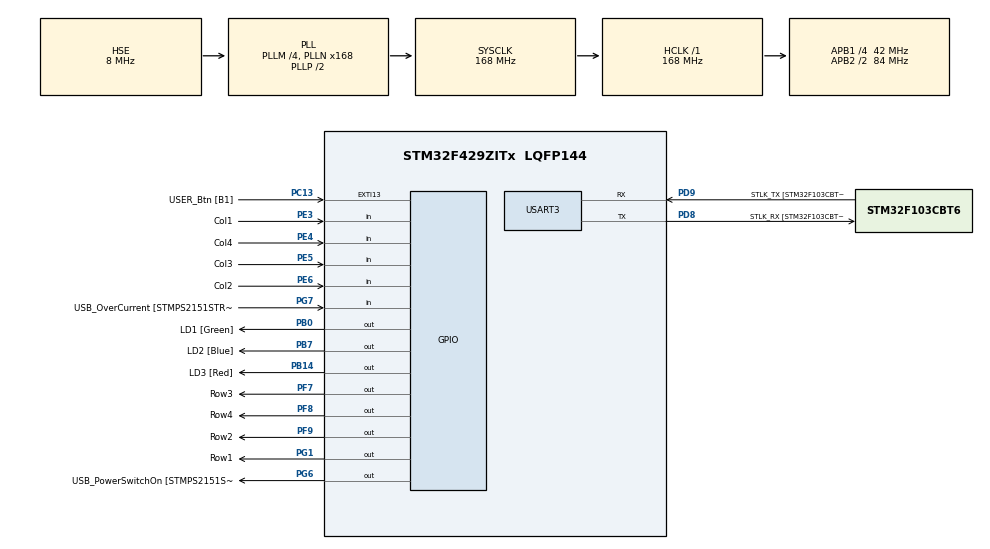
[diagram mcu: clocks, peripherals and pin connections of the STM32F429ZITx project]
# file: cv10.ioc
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Mcu.Family=STM32F4
Mcu.Name=STM32F429ZITx
Mcu.Package=LQFP144
NVIC.PriorityGroup=NVIC_PRIORITYGROUP_4
NVIC.TIM3_IRQn=true\:0\:0\:false\:false\:true\:true\:true\:true
PA1.GPIO_Label=RMII_REF_CLK [LAN8742A-CZ-TR_REFCLK0]
PA1.Signal=ETH_REF_CLK
PA10.GPIO_Label=USB_ID
PA10.Signal=USB_OTG_FS_ID
PA11.GPIO_Label=USB_DM
PA11.Signal=USB_OTG_FS_DM
PA12.GPIO_Label=USB_DP
PA12.Signal=USB_OTG_FS_DP
PA13.GPIO_Label=TMS
PA13.Mode=Serial_Wire
PA13.Signal=SYS_JTMS-SWDIO
PA14.GPIO_Label=TCK
PA14.Mode=Serial_Wire
PA14.Signal=SYS_JTCK-SWCLK
PA2.GPIO_Label=RMII_MDIO [LAN8742A-CZ-TR_MDIO]
PA2.Signal=ETH_MDIO
PA7.GPIO_Label=RMII_CRS_DV [LAN8742A-CZ-TR_CRS_DV]
PA7.Signal=ETH_CRS_DV
PA8.GPIO_Label=USB_SOF [TP1]
PA8.Signal=USB_OTG_FS_SOF
PA9.GPIO_Label=USB_VBUS
PA9.Signal=USB_OTG_FS_VBUS
PB0.GPIO_Label=LD1 [Green]
PB0.Signal=GPIO_Output
PB13.GPIO_Label=RMII_TXD1 [LAN8742A-CZ-TR_TXD1]
PB13.Signal=ETH_TXD1
PB14.GPIO_Label=LD3 [Red]
PB14.Signal=GPIO_Output
PB7.GPIO_Label=LD2 [Blue]
PB7.Signal=GPIO_Output
PC1.GPIO_Label=RMII_MDC [LAN8742A-CZ-TR_MDC]
PC1.Signal=ETH_MDC
PC13.GPIO_Label=USER_Btn [B1]
PC13.Signal=GPXTI13
PC14/OSC32_IN.Mode=LSE-External-Oscillator
PC14/OSC32_IN.Signal=RCC_OSC32_IN
PC15/OSC32_OUT.Mode=LSE-External-Oscillator
PC15/OSC32_OUT.Signal=RCC_OSC32_OUT
PC4.GPIO_Label=RMII_RXD0 [LAN8742A-CZ-TR_RXD0]
PC4.Signal=ETH_RXD0
PC5.GPIO_Label=RMII_RXD1 [LAN8742A-CZ-TR_RXD1]
PC5.Signal=ETH_RXD1
PD8.GPIO_Label=STLK_RX [STM32F103CBT6_PA3]
PD8.Mode=Asynchronous
PD8.Signal=USART3_TX
PD9.GPIO_Label=STLK_TX [STM32F103CBT6_PA2]
PD9.Mode=Asynchronous
PD9.Signal=USART3_RX
PE3.GPIO_Label=Col1
PE3.GPIO_PuPd=GPIO_PULLUP
PE3.Signal=GPIO_Input
PE4.GPIO_Label=Col4
PE4.GPIO_PuPd=GPIO_PULLUP
PE4.Signal=GPIO_Input
PE5.GPIO_Label=Col3
PE5.GPIO_PuPd=GPIO_PULLUP
PE5.Signal=GPIO_Input
PE6.GPIO_Label=Col2
PE6.GPIO_PuPd=GPIO_PULLUP
PE6.Signal=GPIO_Input
PF7.GPIO_Label=Row3
PF7.GPIO_ModeDefaultOutputPP=GPIO_MODE_OUTPUT_OD
PF7.GPIO_PuPd=GPIO_NOPULL
PF7.Signal=GPIO_Output
PF8.GPIO_Label=Row4
PF8.GPIO_ModeDefaultOutputPP=GPIO_MODE_OUTPUT_OD
PF8.GPIO_PuPd=GPIO_NOPULL
PF8.Signal=GPIO_Output
PF9.GPIO_Label=Row2
PF9.GPIO_ModeDefaultOutputPP=GPIO_MODE_OUTPUT_OD
PF9.GPIO_PuPd=GPIO_NOPULL
PF9.Signal=GPIO_Output
PG1.GPIO_Label=Row1
PG1.GPIO_ModeDefaultOutputPP=GPIO_MODE_OUTPUT_OD
PG1.GPIO_PuPd=GPIO_NOPULL
PG1.Signal=GPIO_Output
PG11.GPIO_Label=RMII_TX_EN [LAN8742A-CZ-TR_TXEN]
PG11.Signal=ETH_TX_EN
PG13.GPIO_Label=RMII_TXD0 [LAN8742A-CZ-TR_TXD0]
PG13.Signal=ETH_TXD0
PG6.GPIO_Label=USB_PowerSwitchOn [STMPS2151STR_EN]
PG6.Signal=GPIO_Output
PG7.GPIO_Label=USB_OverCurrent [STMPS2151STR_FAULT]
PG7.Signal=GPIO_Input
PH0/OSC_IN.GPIO_Label=MCO [STM32F103CBT6_PA8]
PH0/OSC_IN.Mode=HSE-External-Clock-Source
PH0/OSC_IN.Signal=RCC_OSC_IN
PH1/OSC_OUT.Mode=HSE-External-Clock-Source
PH1/OSC_OUT.Signal=RCC_OSC_OUT
ProjectManager.HeapSize=0x200
ProjectManager.StackSize=0x400
ProjectManager.TargetToolchain=STM32CubeIDE
RCC.48MHZClocksFreq_Value=48000000
RCC.AHBFreq_Value=168000000
RCC.APB1CLKDivider=RCC_HCLK_DIV4
RCC.APB1Freq_Value=42000000
RCC.APB1TimFreq_Value=84000000
RCC.APB2CLKDivider=RCC_HCLK_DIV2
RCC.APB2Freq_Value=84000000
RCC.APB2TimCLKDivider=2
RCC.APB2TimFreq_Value=168000000
RCC.CortexFreq_Value=168000000
RCC.HCLKFreq_Value=168000000
RCC.HSE_VALUE=8000000
RCC.HSI_VALUE=16000000
RCC.PLLM=4
RCC.PLLMUL=RCC_PLL_MUL9
RCC.PLLN=168
RCC.PLLQ=7
RCC.PLLSourceVirtual=RCC_PLLSOURCE_HSE
RCC.PRESCALERUSB=RCC_USBCLKSOURCE_PLL_DIV1_5
RCC.SYSCLKFreq_VALUE=168000000
RCC.SYSCLKSource=RCC_SYSCLKSOURCE_PLLCLK
RCC.SYSCLKSourceVirtual=RCC_SYSCLKSOURCE_PLLCLK
RCC.USBFreq_Value=48000000
RCC.VCOOutputFreq_Value=336000000
TIM3.AutoReloadPreload=TIM_AUTORELOAD_PRELOAD_ENABLE
TIM3.Period=99
TIM3.Prescaler=8399
USART3.VirtualMode=VM_ASYNC
VP_TIM3_VS_ClockSourceINT.Mode=Internal
board=NUCLEO-F429ZI

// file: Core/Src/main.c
/* USER CODE BEGIN Header */
/**
 ******************************************************************************
 * @file           : main.c
 * @brief          : Main program body
 ******************************************************************************
 * @attention
 *
 * Copyright (c) 2022 STMicroelectronics.
 * All rights reserved.
 *
 * This software is licensed under terms that can be found in the LICENSE file
 * in the root directory of this software component.
 * If no LICENSE file comes with this software, it is provided AS-IS.
 *
 ******************************************************************************
 */
/* USER CODE END Header */
#include "main.h"

/* USER CODE BEGIN Includes */
#include <stdio.h>
/* USER CODE END Includes */

TIM_HandleTypeDef htim3;

UART_HandleTypeDef huart3;

/* USER CODE BEGIN PV */
static volatile int8_t key = -1;
/* USER CODE END PV */

void SystemClock_Config(void);
static void MX_GPIO_Init(void);
static void MX_USART3_UART_Init(void);
static void MX_TIM3_Init(void);

/* USER CODE BEGIN 0 */
int __io_putchar(int ch) {
	ITM_SendChar(ch);
	return 0;
}

void HAL_TIM_PeriodElapsedCallback(TIM_HandleTypeDef *htim) {
	static int row = 0;
	static const int keyboard[4][4] = { { 1, 2, 3, 21 }, { 4, 5, 6, 22 }, { 7,
			8, 9, 23 }, { 11, 0, 12, 24 }, };

	if (key == -1) {
		if (HAL_GPIO_ReadPin(Col1_GPIO_Port, Col1_Pin) == GPIO_PIN_RESET)
			key = keyboard[row][0];
		if (HAL_GPIO_ReadPin(Col2_GPIO_Port, Col2_Pin) == GPIO_PIN_RESET)
			key = keyboard[row][1];
		if (HAL_GPIO_ReadPin(Col3_GPIO_Port, Col3_Pin) == GPIO_PIN_RESET)
			key = keyboard[row][2];
		if (HAL_GPIO_ReadPin(Col4_GPIO_Port, Col4_Pin) == GPIO_PIN_RESET)
			key = keyboard[row][3];
	}
	HAL_GPIO_WritePin(Row1_GPIO_Port, Row1_Pin, GPIO_PIN_SET);
	HAL_GPIO_WritePin(Row2_GPIO_Port, Row2_Pin, GPIO_PIN_SET);
	HAL_GPIO_WritePin(Row3_GPIO_Port, Row3_Pin, GPIO_PIN_SET);
	HAL_GPIO_WritePin(Row4_GPIO_Port, Row4_Pin, GPIO_PIN_SET);

	switch (row) {
	case 0:
		row = 1;
		HAL_GPIO_WritePin(Row2_GPIO_Port, Row2_Pin, GPIO_PIN_RESET);
		break;
	case 1:
		row = 2;
		HAL_GPIO_WritePin(Row3_GPIO_Port, Row3_Pin, GPIO_PIN_RESET);
		break;
	case 2:
		row = 3;
		HAL_GPIO_WritePin(Row4_GPIO_Port, Row4_Pin, GPIO_PIN_RESET);
		break;
	case 3:
		row = 0;
		HAL_GPIO_WritePin(Row1_GPIO_Port, Row1_Pin, GPIO_PIN_RESET);
		break;
	}
}
/* USER CODE END 0 */

int main(void)
{

  /* MCU Configuration--------------------------------------------------------*/

  /* Reset of all peripherals, Initializes the Flash interface and the Systick. */
  HAL_Init();

  /* Configure the system clock */
  SystemClock_Config();

  /* Initialize all configured peripherals */
  MX_GPIO_Init();
  MX_USART3_UART_Init();
  MX_TIM3_Init();
  /* USER CODE BEGIN 2 */

	HAL_TIM_Base_Start_IT(&htim3);

	static const int8_t code[] = {7, 9, 3, 2, 12};
	uint8_t pos = 0;

  /* USER CODE END 2 */

  /* Infinite loop */
  /* USER CODE BEGIN WHILE */
	while (1) {

		static uint32_t timeoutTicks = UINT32_MAX;

		if (HAL_GetTick() >= timeoutTicks) {
			pos = 0;
			timeoutTicks = UINT32_MAX;
			printf("Timeout!\n");
		}

		if (key != -1) {
			printf("Pressed: %2d, ", key);

			if (code[pos] == key) {
				pos++;
				timeoutTicks = HAL_GetTick()+3000;
				printf("pos = %d\n", pos);

				if (pos >= 5) {
					HAL_GPIO_TogglePin(LD1_GPIO_Port, LD1_Pin);
					pos = 0;
					timeoutTicks = UINT32_MAX;
					printf("ACCESS GRANTED!\n");
				}

			} else {
				pos = 0;
				timeoutTicks = HAL_GetTick()+3000;
				printf("pos = %d\n", pos);

			}

			HAL_Delay(300);
			key = -1;
		}

    /* USER CODE END WHILE */

	}
}

void SystemClock_Config(void)
{
  RCC_OscInitTypeDef RCC_OscInitStruct = {0};
  RCC_ClkInitTypeDef RCC_ClkInitStruct = {0};

  /** Configure the main internal regulator output voltage
  */
  __HAL_RCC_PWR_CLK_ENABLE();
  __HAL_PWR_VOLTAGESCALING_CONFIG(PWR_REGULATOR_VOLTAGE_SCALE1);

  /** Initializes the RCC Oscillators according to the specified parameters
  * in the RCC_OscInitTypeDef structure.
  */
  RCC_OscInitStruct.OscillatorType = RCC_OSCILLATORTYPE_HSE;
  RCC_OscInitStruct.HSEState = RCC_HSE_BYPASS;
  RCC_OscInitStruct.PLL.PLLState = RCC_PLL_ON;
  RCC_OscInitStruct.PLL.PLLSource = RCC_PLLSOURCE_HSE;
  RCC_OscInitStruct.PLL.PLLM = 4;
  RCC_OscInitStruct.PLL.PLLN = 168;
  RCC_OscInitStruct.PLL.PLLP = RCC_PLLP_DIV2;
  RCC_OscInitStruct.PLL.PLLQ = 7;
  if (HAL_RCC_OscConfig(&RCC_OscInitStruct) != HAL_OK)
  {
    Error_Handler();
  }

  /** Initializes the CPU, AHB and APB buses clocks
  */
  RCC_ClkInitStruct.ClockType = RCC_CLOCKTYPE_HCLK|RCC_CLOCKTYPE_SYSCLK
                              |RCC_CLOCKTYPE_PCLK1|RCC_CLOCKTYPE_PCLK2;
  RCC_ClkInitStruct.SYSCLKSource = RCC_SYSCLKSOURCE_PLLCLK;
  RCC_ClkInitStruct.AHBCLKDivider = RCC_SYSCLK_DIV1;
  RCC_ClkInitStruct.APB1CLKDivider = RCC_HCLK_DIV4;
  RCC_ClkInitStruct.APB2CLKDivider = RCC_HCLK_DIV2;

  if (HAL_RCC_ClockConfig(&RCC_ClkInitStruct, FLASH_LATENCY_5) != HAL_OK)
  {
    Error_Handler();
  }
}

static void MX_TIM3_Init(void)
{

  TIM_ClockConfigTypeDef sClockSourceConfig = {0};
  TIM_MasterConfigTypeDef sMasterConfig = {0};

  htim3.Instance = TIM3;
  htim3.Init.Prescaler = 8399;
  htim3.Init.CounterMode = TIM_COUNTERMODE_UP;
  htim3.Init.Period = 99;
  htim3.Init.ClockDivision = TIM_CLOCKDIVISION_DIV1;
  htim3.Init.AutoReloadPreload = TIM_AUTORELOAD_PRELOAD_ENABLE;
  if (HAL_TIM_Base_Init(&htim3) != HAL_OK)
  {
    Error_Handler();
  }
  sClockSourceConfig.ClockSource = TIM_CLOCKSOURCE_INTERNAL;
  if (HAL_TIM_ConfigClockSource(&htim3, &sClockSourceConfig) != HAL_OK)
  {
    Error_Handler();
  }
  sMasterConfig.MasterOutputTrigger = TIM_TRGO_RESET;
  sMasterConfig.MasterSlaveMode = TIM_MASTERSLAVEMODE_DISABLE;
  if (HAL_TIMEx_MasterConfigSynchronization(&htim3, &sMasterConfig) != HAL_OK)
  {
    Error_Handler();
  }

}

static void MX_USART3_UART_Init(void)
{

  huart3.Instance = USART3;
  huart3.Init.BaudRate = 115200;
  huart3.Init.WordLength = UART_WORDLENGTH_8B;
  huart3.Init.StopBits = UART_STOPBITS_1;
  huart3.Init.Parity = UART_PARITY_NONE;
  huart3.Init.Mode = UART_MODE_TX_RX;
  huart3.Init.HwFlowCtl = UART_HWCONTROL_NONE;
  huart3.Init.OverSampling = UART_OVERSAMPLING_16;
  if (HAL_UART_Init(&huart3) != HAL_OK)
  {
    Error_Handler();
  }

}

static void MX_GPIO_Init(void)
{
  GPIO_InitTypeDef GPIO_InitStruct = {0};

  /* GPIO Ports Clock Enable */
  __HAL_RCC_GPIOE_CLK_ENABLE();
  __HAL_RCC_GPIOC_CLK_ENABLE();
  __HAL_RCC_GPIOF_CLK_ENABLE();
  __HAL_RCC_GPIOH_CLK_ENABLE();
  __HAL_RCC_GPIOA_CLK_ENABLE();
  __HAL_RCC_GPIOB_CLK_ENABLE();
  __HAL_RCC_GPIOG_CLK_ENABLE();
  __HAL_RCC_GPIOD_CLK_ENABLE();

  /*Configure GPIO pin Output Level */
  HAL_GPIO_WritePin(GPIOF, Row3_Pin|Row4_Pin|Row2_Pin, GPIO_PIN_RESET);

  /*Configure GPIO pin Output Level */
  HAL_GPIO_WritePin(GPIOB, LD1_Pin|LD3_Pin|LD2_Pin, GPIO_PIN_RESET);

  /*Configure GPIO pin Output Level */
  HAL_GPIO_WritePin(GPIOG, Row1_Pin|USB_PowerSwitchOn_Pin, GPIO_PIN_RESET);

  /*Configure GPIO pins : Col1_Pin Col4_Pin Col3_Pin Col2_Pin */
  GPIO_InitStruct.Pin = Col1_Pin|Col4_Pin|Col3_Pin|Col2_Pin;
  GPIO_InitStruct.Mode = GPIO_MODE_INPUT;
  GPIO_InitStruct.Pull = GPIO_PULLUP;
  HAL_GPIO_Init(GPIOE, &GPIO_InitStruct);

  /*Configure GPIO pin : USER_Btn_Pin */
  GPIO_InitStruct.Pin = USER_Btn_Pin;
  GPIO_InitStruct.Mode = GPIO_MODE_IT_RISING;
  GPIO_InitStruct.Pull = GPIO_NOPULL;
  HAL_GPIO_Init(USER_Btn_GPIO_Port, &GPIO_InitStruct);

  /*Configure GPIO pins : Row3_Pin Row4_Pin Row2_Pin */
  GPIO_InitStruct.Pin = Row3_Pin|Row4_Pin|Row2_Pin;
  GPIO_InitStruct.Mode = GPIO_MODE_OUTPUT_OD;
  GPIO_InitStruct.Pull = GPIO_NOPULL;
  GPIO_InitStruct.Speed = GPIO_SPEED_FREQ_LOW;
  HAL_GPIO_Init(GPIOF, &GPIO_InitStruct);

  /*Configure GPIO pins : RMII_MDC_Pin RMII_RXD0_Pin RMII_RXD1_Pin */
  GPIO_InitStruct.Pin = RMII_MDC_Pin|RMII_RXD0_Pin|RMII_RXD1_Pin;
  GPIO_InitStruct.Mode = GPIO_MODE_AF_PP;
  GPIO_InitStruct.Pull = GPIO_NOPULL;
  GPIO_InitStruct.Speed = GPIO_SPEED_FREQ_VERY_HIGH;
  GPIO_InitStruct.Alternate = GPIO_AF11_ETH;
  HAL_GPIO_Init(GPIOC, &GPIO_InitStruct);

  /*Configure GPIO pins : RMII_REF_CLK_Pin RMII_MDIO_Pin RMII_CRS_DV_Pin */
  GPIO_InitStruct.Pin = RMII_REF_CLK_Pin|RMII_MDIO_Pin|RMII_CRS_DV_Pin;
  GPIO_InitStruct.Mode = GPIO_MODE_AF_PP;
  GPIO_InitStruct.Pull = GPIO_NOPULL;
  GPIO_InitStruct.Speed = GPIO_SPEED_FREQ_VERY_HIGH;
  GPIO_InitStruct.Alternate = GPIO_AF11_ETH;
  HAL_GPIO_Init(GPIOA, &GPIO_InitStruct);

  /*Configure GPIO pins : LD1_Pin LD3_Pin LD2_Pin */
  GPIO_InitStruct.Pin = LD1_Pin|LD3_Pin|LD2_Pin;
  GPIO_InitStruct.Mode = GPIO_MODE_OUTPUT_PP;
  GPIO_InitStruct.Pull = GPIO_NOPULL;
  GPIO_InitStruct.Speed = GPIO_SPEED_FREQ_LOW;
  HAL_GPIO_Init(GPIOB, &GPIO_InitStruct);

  /*Configure GPIO pin : Row1_Pin */
  GPIO_InitStruct.Pin = Row1_Pin;
  GPIO_InitStruct.Mode = GPIO_MODE_OUTPUT_OD;
  GPIO_InitStruct.Pull = GPIO_NOPULL;
  GPIO_InitStruct.Speed = GPIO_SPEED_FREQ_LOW;
  HAL_GPIO_Init(Row1_GPIO_Port, &GPIO_InitStruct);

  /*Configure GPIO pin : RMII_TXD1_Pin */
  GPIO_InitStruct.Pin = RMII_TXD1_Pin;
  GPIO_InitStruct.Mode = GPIO_MODE_AF_PP;
  GPIO_InitStruct.Pull = GPIO_NOPULL;
  GPIO_InitStruct.Speed = GPIO_SPEED_FREQ_VERY_HIGH;
  GPIO_InitStruct.Alternate = GPIO_AF11_ETH;
  HAL_GPIO_Init(RMII_TXD1_GPIO_Port, &GPIO_InitStruct);

  /*Configure GPIO pin : USB_PowerSwitchOn_Pin */
  GPIO_InitStruct.Pin = USB_PowerSwitchOn_Pin;
  GPIO_InitStruct.Mode = GPIO_MODE_OUTPUT_PP;
  GPIO_InitStruct.Pull = GPIO_NOPULL;
  GPIO_InitStruct.Speed = GPIO_SPEED_FREQ_LOW;
  HAL_GPIO_Init(USB_PowerSwitchOn_GPIO_Port, &GPIO_InitStruct);

  /*Configure GPIO pin : USB_OverCurrent_Pin */
  GPIO_InitStruct.Pin = USB_OverCurrent_Pin;
  GPIO_InitStruct.Mode = GPIO_MODE_INPUT;
  GPIO_InitStruct.Pull = GPIO_NOPULL;
  HAL_GPIO_Init(USB_OverCurrent_GPIO_Port, &GPIO_InitStruct);

  /*Configure GPIO pins : USB_SOF_Pin USB_ID_Pin USB_DM_Pin USB_DP_Pin */
  GPIO_InitStruct.Pin = USB_SOF_Pin|USB_ID_Pin|USB_DM_Pin|USB_DP_Pin;
  GPIO_InitStruct.Mode = GPIO_MODE_AF_PP;
  GPIO_InitStruct.Pull = GPIO_NOPULL;
  GPIO_InitStruct.Speed = GPIO_SPEED_FREQ_VERY_HIGH;
  GPIO_InitStruct.Alternate = GPIO_AF10_OTG_FS;
  HAL_GPIO_Init(GPIOA, &GPIO_InitStruct);

  /*Configure GPIO pin : USB_VBUS_Pin */
  GPIO_InitStruct.Pin = USB_VBUS_Pin;
  GPIO_InitStruct.Mode = GPIO_MODE_INPUT;
  GPIO_InitStruct.Pull = GPIO_NOPULL;
  HAL_GPIO_Init(USB_VBUS_GPIO_Port, &GPIO_InitStruct);

  /*Configure GPIO pins : RMII_TX_EN_Pin RMII_TXD0_Pin */
  GPIO_InitStruct.Pin = RMII_TX_EN_Pin|RMII_TXD0_Pin;
  GPIO_InitStruct.Mode = GPIO_MODE_AF_PP;
  GPIO_InitStruct.Pull = GPIO_NOPULL;
  GPIO_InitStruct.Speed = GPIO_SPEED_FREQ_VERY_HIGH;
  GPIO_InitStruct.Alternate = GPIO_AF11_ETH;
  HAL_GPIO_Init(GPIOG, &GPIO_InitStruct);

}

void Error_Handler(void)
{
	__disable_irq();
	while (1) {
	}
}
